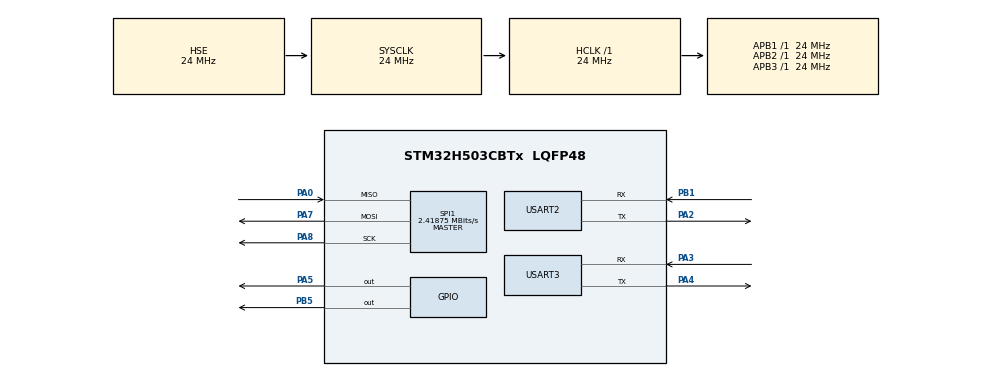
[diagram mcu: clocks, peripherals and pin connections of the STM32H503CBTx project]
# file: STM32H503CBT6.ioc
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BOOTPATH.BootPathName=LEGACY
BOOTPATH.UserSelectedBootPath=LEGACY
GPDMA1.LINKEDLISTMODE_GPDMACH1=DMA_LINKEDLIST_CIRCULAR
GPDMA1.LINKSTEPMODE_GPDMACH1=DMA_LSM_1LINK_EXECUTION
GPDMA1.PRIORITY_LL_GPDMACH1=DMA_LOW_PRIORITY_HIGH_WEIGHT
Linkedlist.MDMA_Channel0.GP_SW.0.ADDRESSING2D=DISABLE
Linkedlist.MDMA_Channel0.GP_SW.0.BlkHWRequest=DMA_BREQ_SINGLE_BURST
Linkedlist.MDMA_Channel0.GP_SW.0.DataHandling=NONE
Linkedlist.MDMA_Channel0.GP_SW.0.DataSize=0
Linkedlist.MDMA_Channel0.GP_SW.0.DestBurstLength=1
Linkedlist.MDMA_Channel0.GP_SW.0.DestDataWidth=DMA_DEST_DATAWIDTH_BYTE
Linkedlist.MDMA_Channel0.GP_SW.0.DestInc=DMA_DINC_FIXED
Linkedlist.MDMA_Channel0.GP_SW.0.Direction=DMA_MEMORY_TO_MEMORY
Linkedlist.MDMA_Channel0.GP_SW.0.DstAddress=0
Linkedlist.MDMA_Channel0.GP_SW.0.Instance=MDMA_Channel0
Linkedlist.MDMA_Channel0.GP_SW.0.LL_MASTERDMA=GPDMA1_2D
Linkedlist.MDMA_Channel0.GP_SW.0.LL_NAME=YourQueueName
Linkedlist.MDMA_Channel0.GP_SW.0.LL_TYPE=LINEAR
Linkedlist.MDMA_Channel0.GP_SW.0.Mode=DMA_NORMAL
Linkedlist.MDMA_Channel0.GP_SW.0.NODE_NAME=YourNodeName
Linkedlist.MDMA_Channel0.GP_SW.0.Requestforcodegen=DMA_REQUEST_SW
Linkedlist.MDMA_Channel0.GP_SW.0.SrcAddress=0
Linkedlist.MDMA_Channel0.GP_SW.0.SrcBurstLength=1
Linkedlist.MDMA_Channel0.GP_SW.0.SrcDataWidth=DMA_SRC_DATAWIDTH_BYTE
Linkedlist.MDMA_Channel0.GP_SW.0.SrcInc=DMA_SINC_FIXED
Linkedlist.MDMA_Channel0.GP_SW.0.TransferAllocatedPortSrc=DMA_SRC_ALLOCATED_PORT0
Linkedlist.MDMA_Channel0.GP_SW.0.TransferEventMode=DMA_TCEM_BLOCK_TRANSFER
Linkedlist.MDMA_Channel0.GP_SW.0.TriggerPolarity=DMA_TRIG_POLARITY_MASKED
Linkedlist.MDMA_Channel0.Request0=GP_SW
Linkedlist.MDMA_Channel0.RequestsNb=1
Linkedlist.RequestSet0=MDMA_Channel0
Linkedlist.RequestSetsNb=1
Mcu.Family=STM32H5
Mcu.Name=STM32H503CBTx
Mcu.Package=LQFP48
NVIC.PriorityGroup=NVIC_PRIORITYGROUP_4
PA0.Mode=Full_Duplex_Master
PA0.Signal=SPI1_MISO
PA2.Mode=Asynchronous
PA2.Signal=USART2_TX
PA3.Mode=Asynchronous
PA3.Signal=USART3_RX
PA4.Mode=Asynchronous
PA4.Signal=USART3_TX
PA5.Signal=GPIO_Output
PA7.Mode=Full_Duplex_Master
PA7.Signal=SPI1_MOSI
PA8.Mode=Full_Duplex_Master
PA8.Signal=SPI1_SCK
PB1.Mode=Asynchronous
PB1.Signal=USART2_RX
PB5.GPIO_Speed=GPIO_SPEED_FREQ_LOW
PB5.PinState=GPIO_PIN_SET
PB5.Signal=GPIO_Output
PH0-OSC_IN(PH0).Mode=HSE-External-Oscillator
PH0-OSC_IN(PH0).Signal=RCC_OSC_IN
PH1-OSC_OUT(PH1).Mode=HSE-External-Oscillator
PH1-OSC_OUT(PH1).Signal=RCC_OSC_OUT
ProjectManager.HeapSize=0x200
ProjectManager.StackSize=0x400
ProjectManager.TargetToolchain=STM32CubeIDE
RCC.ADCFreq_Value=24000000
RCC.AHBFreq_Value=24000000
RCC.APB1Freq_Value=24000000
RCC.APB1TimFreq_Value=24000000
RCC.APB2Freq_Value=24000000
RCC.APB2TimFreq_Value=24000000
RCC.APB3Freq_Value=24000000
RCC.CSI_VALUE=4000000
RCC.CortexFreq_Value=24000000
RCC.EPOD_VALUE=24000000
RCC.HCLKFreq_Value=24000000
RCC.HSE_VALUE=24000000
RCC.HSI48_VALUE=48000000
RCC.HSI_VALUE=64000000
RCC.LSE_VALUE=32768
RCC.LSIRC_VALUE=32000
RCC.PLL1P=16
RCC.PLL1Q=5
RCC.PLL2FRACN=0
RCC.PLLFRACN=0
RCC.PLLM=8
RCC.PLLSourceVirtual=RCC_PLL1_SOURCE_HSE
RCC.SYSCLKFreq_VALUE=24000000
RCC.SYSCLKSource=RCC_SYSCLKSOURCE_HSE
RCC.USBFreq_Value=48000000
RCC.VCOOutputFreq_Value=387000000
SBS.VDDIO1=Enable
SBS.VDDIO22=Enable
SPI1.BaudRatePrescaler=SPI_BAUDRATEPRESCALER_32
SPI1.CalculateBaudRate=2.41875 MBits/s
SPI1.DataSize=SPI_DATASIZE_8BIT
SPI1.Direction=SPI_DIRECTION_2LINES
SPI1.Mode=SPI_MODE_MASTER
SPI1.VirtualType=VM_MASTER
USART2.VirtualMode-Asynchronous=VM_ASYNC
USART3.VirtualMode-Asynchronous=VM_ASYNC
VP_BOOTPATH_VS_BOOTPATH.Mode=BP_Activate
VP_CORTEX_M33_NS_VS_Hclk.Mode=Hclk_Mode
VP_GPDMA1_VS_GPDMACH1.Mode=LINKEDLIST_GPDMACH1
VP_GPDMA1_VS_GPDMACH7.Mode=LINKEDLIST_GPDMACH7
VP_MEMORYMAP_VS_MEMORYMAP.Mode=CurAppReg
VP_PWR_VS_DBSignals.Mode=DisableDeadBatterySignals
VP_PWR_VS_LPOM.Mode=PowerOptimisation
VP_PWR_VS_SECSignals.Mode=Security/Privilege
VP_SBS_VS-SBS.Mode=SBS
board=custom

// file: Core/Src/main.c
/* USER CODE BEGIN Header */
/**
 ******************************************************************************
 * @file           : main.c
 * @brief          : Main program body
 ******************************************************************************
 * @attention
 *
 * Copyright (c) 2024 STMicroelectronics.
 * All rights reserved.
 *
 * This software is licensed under terms that can be found in the LICENSE file
 * in the root directory of this software component.
 * If no LICENSE file comes with this software, it is provided AS-IS.
 *
 ******************************************************************************
 */
/* USER CODE END Header */
#include "main.h"

/* USER CODE BEGIN Includes */

#include <stdio.h>
#include "lis2dw12.h"
/* USER CODE END Includes */

/* USER CODE BEGIN PTD */
#define PI 3.14159265
/* USER CODE END PTD */

DMA_HandleTypeDef handle_GPDMA1_Channel7;
DMA_HandleTypeDef handle_GPDMA1_Channel1;

SPI_HandleTypeDef hspi1;

UART_HandleTypeDef huart2;
UART_HandleTypeDef huart3;

void SystemClock_Config(void);
static void MX_GPIO_Init(void);
static void MX_GPDMA1_Init(void);
static void MX_SPI1_Init(void);
static void MX_USART2_UART_Init(void);
static void MX_USART3_UART_Init(void);
static void MX_SBS_Init(void);

/* USER CODE BEGIN 0 */
void __io_putchar(char ch) {
	HAL_UART_Transmit(&huart2, (uint8_t *)&ch, 1, 10);
}

uint8_t received_data;
LIS2DW12_Data_t accel_data;
float pitch,roll, temperature;

/* USER CODE END 0 */

int main(void)
{

  /* MCU Configuration--------------------------------------------------------*/

  /* Reset of all peripherals, Initializes the Flash interface and the Systick. */
  HAL_Init();

  /* Configure the system clock */
  SystemClock_Config();

  /* Initialize all configured peripherals */
  MX_GPIO_Init();
  MX_GPDMA1_Init();
  MX_SPI1_Init();
  MX_USART2_UART_Init();
  MX_USART3_UART_Init();
  MX_SBS_Init();
  /* USER CODE BEGIN 2 */

	/* Initialize LIS2DW */
	printf("____________________________________ \n\r");
	printf("**            STM32H503           ** \n\r");
	printf("Version: %s %s\n\r", __DATE__, __TIME__);
	printf("____________________________________ \n\r");

	printf("Starting LIS2DW12 initialization.... \r\n");

	// Baca ID sensor
	HAL_Delay(500);
	uint8_t sensor_id = LIS2DW12_ReadID(&hspi1);
	printf("WHOAMI :  0x%02X\r\n", sensor_id);

	if(sensor_id != LIS2DW12_ID) {
		printf("Error: Wrong sensor ID!\r\n");
		Error_Handler();
	}
	if(!LIS2DW12_Init(&hspi1)) {
		printf("Error: Sensor initialization failed!\r\n");
		Error_Handler();
	}
	if(!LIS2DW12_SetScale(&hspi1, LIS2DW12_2G)) {
		printf("Error: Failed to set scale!\r\n");
		Error_Handler();
	}
	if(!LIS2DW12_SetODR(&hspi1, LIS2DW12_ODR_100Hz)) {
		printf("Error: Failed to set ODR!\r\n");
		Error_Handler();
	}

	printf("LIS2DW12 initialization successful!\r\n");
	printf("Starting measurements............. \r\n");

  /* USER CODE END 2 */

  /* Infinite loop */
	while (1)
	{

    /* USER CODE BEGIN 3 */

		if(LIS2DW12_ReadAccel(&hspi1, &accel_data)) {
			//			printf("X: %.3f g, Y: %.3f g, Z: %.3f g\r\n",
			//					accel_data.x, accel_data.y, accel_data.z);
			printf("X: %.3f | Y: %.3f | Z: %.3f \r\n",
					accel_data.x, accel_data.y, accel_data.z);
			//		} else {
			//			printf("Error reading accelerometer data!\r\n");
			//		}
			roll = atan2(accel_data.y, accel_data.z) * (180 / PI);
			pitch = atan2(-accel_data.x, sqrt(accel_data.y * accel_data.y + accel_data.z * accel_data.z)) * (180 / PI);
			//			printf("Roll: %.2f degrees |", roll);
			//			printf("Pitch: %.2f degrees\n", pitch);

			if(roll > 45 || roll < -45){
				HAL_GPIO_WritePin(GPIOA, GPIO_PIN_5, 1);
			}else{
				HAL_GPIO_WritePin(GPIOA, GPIO_PIN_5, 0);
			}

		}
		if(LIS2DW12_ReadTemp(&hspi1, &temperature)) {
			printf("Temperature: %.1f ^C\r\n", temperature);
		}else{
			printf("Temperature Gagal di baca\r\n");
		}

		HAL_Delay(100);
	}
  /* USER CODE END 3 */
}

void SystemClock_Config(void)
{
  RCC_OscInitTypeDef RCC_OscInitStruct = {0};
  RCC_ClkInitTypeDef RCC_ClkInitStruct = {0};

  /** Configure the main internal regulator output voltage
  */
  __HAL_PWR_VOLTAGESCALING_CONFIG(PWR_REGULATOR_VOLTAGE_SCALE3);

  while(!__HAL_PWR_GET_FLAG(PWR_FLAG_VOSRDY)) {}

  /** Initializes the RCC Oscillators according to the specified parameters
  * in the RCC_OscInitTypeDef structure.
  */
  RCC_OscInitStruct.OscillatorType = RCC_OSCILLATORTYPE_HSE;
  RCC_OscInitStruct.HSEState = RCC_HSE_ON;
  RCC_OscInitStruct.PLL.PLLState = RCC_PLL_ON;
  RCC_OscInitStruct.PLL.PLLSource = RCC_PLL1_SOURCE_HSE;
  RCC_OscInitStruct.PLL.PLLM = 8;
  RCC_OscInitStruct.PLL.PLLN = 129;
  RCC_OscInitStruct.PLL.PLLP = 16;
  RCC_OscInitStruct.PLL.PLLQ = 5;
  RCC_OscInitStruct.PLL.PLLR = 2;
  RCC_OscInitStruct.PLL.PLLRGE = RCC_PLL1_VCIRANGE_1;
  RCC_OscInitStruct.PLL.PLLVCOSEL = RCC_PLL1_VCORANGE_WIDE;
  RCC_OscInitStruct.PLL.PLLFRACN = 0;
  if (HAL_RCC_OscConfig(&RCC_OscInitStruct) != HAL_OK)
  {
    Error_Handler();
  }

  /** Initializes the CPU, AHB and APB buses clocks
  */
  RCC_ClkInitStruct.ClockType = RCC_CLOCKTYPE_HCLK|RCC_CLOCKTYPE_SYSCLK
                              |RCC_CLOCKTYPE_PCLK1|RCC_CLOCKTYPE_PCLK2
                              |RCC_CLOCKTYPE_PCLK3;
  RCC_ClkInitStruct.SYSCLKSource = RCC_SYSCLKSOURCE_HSE;
  RCC_ClkInitStruct.AHBCLKDivider = RCC_SYSCLK_DIV1;
  RCC_ClkInitStruct.APB1CLKDivider = RCC_HCLK_DIV1;
  RCC_ClkInitStruct.APB2CLKDivider = RCC_HCLK_DIV1;
  RCC_ClkInitStruct.APB3CLKDivider = RCC_HCLK_DIV1;

  if (HAL_RCC_ClockConfig(&RCC_ClkInitStruct, FLASH_LATENCY_1) != HAL_OK)
  {
    Error_Handler();
  }

  /** Configure the programming delay
  */
  __HAL_FLASH_SET_PROGRAM_DELAY(FLASH_PROGRAMMING_DELAY_0);
}

static void MX_GPDMA1_Init(void)
{

  /* Peripheral clock enable */
  __HAL_RCC_GPDMA1_CLK_ENABLE();

  handle_GPDMA1_Channel7.Instance = GPDMA1_Channel7;
  handle_GPDMA1_Channel7.InitLinkedList.Priority = DMA_LOW_PRIORITY_LOW_WEIGHT;
  handle_GPDMA1_Channel7.InitLinkedList.LinkStepMode = DMA_LSM_FULL_EXECUTION;
  handle_GPDMA1_Channel7.InitLinkedList.LinkAllocatedPort = DMA_LINK_ALLOCATED_PORT0;
  handle_GPDMA1_Channel7.InitLinkedList.TransferEventMode = DMA_TCEM_LAST_LL_ITEM_TRANSFER;
  handle_GPDMA1_Channel7.InitLinkedList.LinkedListMode = DMA_LINKEDLIST_NORMAL;
  if (HAL_DMAEx_List_Init(&handle_GPDMA1_Channel7) != HAL_OK)
  {
    Error_Handler();
  }
  if (HAL_DMA_ConfigChannelAttributes(&handle_GPDMA1_Channel7, DMA_CHANNEL_NPRIV) != HAL_OK)
  {
    Error_Handler();
  }
  handle_GPDMA1_Channel1.Instance = GPDMA1_Channel1;
  handle_GPDMA1_Channel1.InitLinkedList.Priority = DMA_LOW_PRIORITY_HIGH_WEIGHT;
  handle_GPDMA1_Channel1.InitLinkedList.LinkStepMode = DMA_LSM_1LINK_EXECUTION;
  handle_GPDMA1_Channel1.InitLinkedList.LinkAllocatedPort = DMA_LINK_ALLOCATED_PORT0;
  handle_GPDMA1_Channel1.InitLinkedList.TransferEventMode = DMA_TCEM_LAST_LL_ITEM_TRANSFER;
  handle_GPDMA1_Channel1.InitLinkedList.LinkedListMode = DMA_LINKEDLIST_CIRCULAR;
  if (HAL_DMAEx_List_Init(&handle_GPDMA1_Channel1) != HAL_OK)
  {
    Error_Handler();
  }
  if (HAL_DMA_ConfigChannelAttributes(&handle_GPDMA1_Channel1, DMA_CHANNEL_NPRIV) != HAL_OK)
  {
    Error_Handler();
  }

}

static void MX_SBS_Init(void)
{

}

static void MX_SPI1_Init(void)
{

  /* SPI1 parameter configuration*/
  hspi1.Instance = SPI1;
  hspi1.Init.Mode = SPI_MODE_MASTER;
  hspi1.Init.Direction = SPI_DIRECTION_2LINES;
  hspi1.Init.DataSize = SPI_DATASIZE_8BIT;
  hspi1.Init.CLKPolarity = SPI_POLARITY_LOW;
  hspi1.Init.CLKPhase = SPI_PHASE_1EDGE;
  hspi1.Init.NSS = SPI_NSS_SOFT;
  hspi1.Init.BaudRatePrescaler = SPI_BAUDRATEPRESCALER_32;
  hspi1.Init.FirstBit = SPI_FIRSTBIT_MSB;
  hspi1.Init.TIMode = SPI_TIMODE_DISABLE;
  hspi1.Init.CRCCalculation = SPI_CRCCALCULATION_DISABLE;
  hspi1.Init.CRCPolynomial = 0x7;
  hspi1.Init.NSSPMode = SPI_NSS_PULSE_ENABLE;
  hspi1.Init.NSSPolarity = SPI_NSS_POLARITY_LOW;
  hspi1.Init.FifoThreshold = SPI_FIFO_THRESHOLD_01DATA;
  hspi1.Init.MasterSSIdleness = SPI_MASTER_SS_IDLENESS_00CYCLE;
  hspi1.Init.MasterInterDataIdleness = SPI_MASTER_INTERDATA_IDLENESS_00CYCLE;
  hspi1.Init.MasterReceiverAutoSusp = SPI_MASTER_RX_AUTOSUSP_DISABLE;
  hspi1.Init.MasterKeepIOState = SPI_MASTER_KEEP_IO_STATE_DISABLE;
  hspi1.Init.IOSwap = SPI_IO_SWAP_DISABLE;
  hspi1.Init.ReadyMasterManagement = SPI_RDY_MASTER_MANAGEMENT_INTERNALLY;
  hspi1.Init.ReadyPolarity = SPI_RDY_POLARITY_HIGH;
  if (HAL_SPI_Init(&hspi1) != HAL_OK)
  {
    Error_Handler();
  }

}

static void MX_USART2_UART_Init(void)
{

  huart2.Instance = USART2;
  huart2.Init.BaudRate = 115200;
  huart2.Init.WordLength = UART_WORDLENGTH_8B;
  huart2.Init.StopBits = UART_STOPBITS_1;
  huart2.Init.Parity = UART_PARITY_NONE;
  huart2.Init.Mode = UART_MODE_TX_RX;
  huart2.Init.HwFlowCtl = UART_HWCONTROL_NONE;
  huart2.Init.OverSampling = UART_OVERSAMPLING_16;
  huart2.Init.OneBitSampling = UART_ONE_BIT_SAMPLE_DISABLE;
  huart2.Init.ClockPrescaler = UART_PRESCALER_DIV1;
  huart2.AdvancedInit.AdvFeatureInit = UART_ADVFEATURE_NO_INIT;
  if (HAL_UART_Init(&huart2) != HAL_OK)
  {
    Error_Handler();
  }
  if (HAL_UARTEx_SetTxFifoThreshold(&huart2, UART_TXFIFO_THRESHOLD_1_8) != HAL_OK)
  {
    Error_Handler();
  }
  if (HAL_UARTEx_SetRxFifoThreshold(&huart2, UART_RXFIFO_THRESHOLD_1_8) != HAL_OK)
  {
    Error_Handler();
  }
  if (HAL_UARTEx_DisableFifoMode(&huart2) != HAL_OK)
  {
    Error_Handler();
  }

}

static void MX_USART3_UART_Init(void)
{

  huart3.Instance = USART3;
  huart3.Init.BaudRate = 115200;
  huart3.Init.WordLength = UART_WORDLENGTH_8B;
  huart3.Init.StopBits = UART_STOPBITS_1;
  huart3.Init.Parity = UART_PARITY_NONE;
  huart3.Init.Mode = UART_MODE_TX_RX;
  huart3.Init.HwFlowCtl = UART_HWCONTROL_NONE;
  huart3.Init.OverSampling = UART_OVERSAMPLING_16;
  huart3.Init.OneBitSampling = UART_ONE_BIT_SAMPLE_DISABLE;
  huart3.Init.ClockPrescaler = UART_PRESCALER_DIV1;
  huart3.AdvancedInit.AdvFeatureInit = UART_ADVFEATURE_NO_INIT;
  if (HAL_UART_Init(&huart3) != HAL_OK)
  {
    Error_Handler();
  }
  if (HAL_UARTEx_SetTxFifoThreshold(&huart3, UART_TXFIFO_THRESHOLD_1_8) != HAL_OK)
  {
    Error_Handler();
  }
  if (HAL_UARTEx_SetRxFifoThreshold(&huart3, UART_RXFIFO_THRESHOLD_1_8) != HAL_OK)
  {
    Error_Handler();
  }
  if (HAL_UARTEx_DisableFifoMode(&huart3) != HAL_OK)
  {
    Error_Handler();
  }
  /* USER CODE BEGIN USART3_Init 2 */

	HAL_NVIC_SetPriority(USART3_IRQn, 0, 0);
	HAL_NVIC_EnableIRQ(USART3_IRQn);

	HAL_NVIC_SetPriority(USART3_IRQn, 0, 0);
	HAL_NVIC_EnableIRQ(USART3_IRQn);

  /* USER CODE END USART3_Init 2 */

}

static void MX_GPIO_Init(void)
{
  GPIO_InitTypeDef GPIO_InitStruct = {0};

  /* GPIO Ports Clock Enable */
  __HAL_RCC_GPIOH_CLK_ENABLE();
  __HAL_RCC_GPIOA_CLK_ENABLE();
  __HAL_RCC_GPIOB_CLK_ENABLE();

  /*Configure GPIO pin Output Level */
  HAL_GPIO_WritePin(GPIOA, GPIO_PIN_5, GPIO_PIN_RESET);

  /*Configure GPIO pin Output Level */
  HAL_GPIO_WritePin(GPIOB, GPIO_PIN_5, GPIO_PIN_SET);

  /*Configure GPIO pin : PA5 */
  GPIO_InitStruct.Pin = GPIO_PIN_5;
  GPIO_InitStruct.Mode = GPIO_MODE_OUTPUT_PP;
  GPIO_InitStruct.Pull = GPIO_NOPULL;
  GPIO_InitStruct.Speed = GPIO_SPEED_FREQ_LOW;
  HAL_GPIO_Init(GPIOA, &GPIO_InitStruct);

  /*Configure GPIO pin : PB5 */
  GPIO_InitStruct.Pin = GPIO_PIN_5;
  GPIO_InitStruct.Mode = GPIO_MODE_OUTPUT_PP;
  GPIO_InitStruct.Pull = GPIO_NOPULL;
  GPIO_InitStruct.Speed = GPIO_SPEED_FREQ_LOW;
  HAL_GPIO_Init(GPIOB, &GPIO_InitStruct);

}

void Error_Handler(void)
{
	__disable_irq();
	while (1)
	{
	}
}
